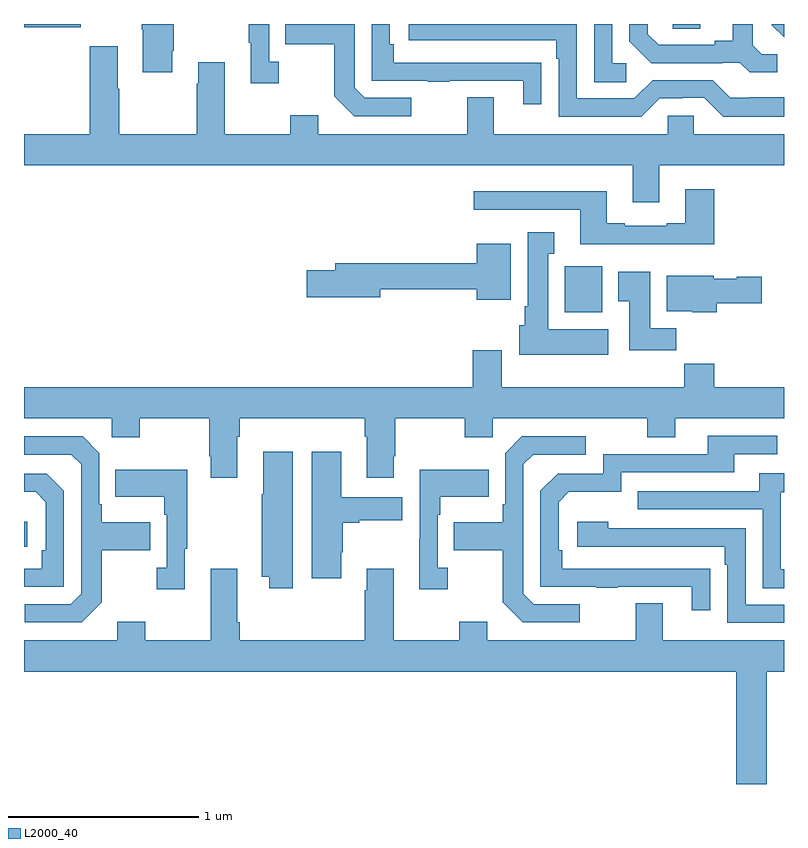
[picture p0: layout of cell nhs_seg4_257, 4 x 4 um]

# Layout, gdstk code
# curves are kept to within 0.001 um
import gdstk
lib = gdstk.Library(unit=1e-6, precision=1e-09)
def R(c, l, rs):  # rectangles x0, y0, x1, y1
    for r in rs: c.add(gdstk.rectangle(r[:2], r[2:], *l))
def P(c, l, *ps):  # polygons
    for p in ps: c.add(gdstk.Polygon(p, *l))
L2000_40 = (2000, 40)

nhs_seg4_257 = lib.new_cell('nhs_seg4_257')
R(nhs_seg4_257, L2000_40, [(123,792.15,123.016,792.28), (125.846,793.382,126.043,793.624), (126.414,794.875,126.559,794.9), (123,794.882,123.298,794.9)])
P(nhs_seg4_257, L2000_40, [(125.038,794.511),(124.794,794.511),(124.74,794.565),(124.74,794.9),(124.375,794.9),(124.375,794.794),(124.632,794.794),(124.632,794.521),(124.737,794.415),(125.038,794.415)],
  [(127,794.515),(126.817,794.515),(126.817,794.511),(126.717,794.511),(126.624,794.604),(126.309,794.604),(126.213,794.508),(125.91,794.508),(125.91,794.9),(125.025,794.9),(125.025,794.814),(125.801,794.814),(125.801,794.717),(125.814,794.717),(125.814,794.412),(126.249,794.412),(126.345,794.508),(126.464,794.508),(126.464,794.511),(126.579,794.511),(126.679,794.411),(127,794.411)],
  [(127,794.9),(126.936,794.9),(126.936,794.894),(127,794.83)],
  [(125.723,794.696),(125.621,794.696),(125.621,794.697),(124.946,794.697),(124.946,794.794),(124.926,794.794),(124.926,794.9),(124.83,794.9),(124.83,794.601),(125.125,794.601),(125.125,794.596),(125.237,794.596),(125.237,794.601),(125.627,794.601),(125.627,794.478),(125.723,794.478)],
  [(123.781,794.758),(123.789,794.758),(123.789,794.9),(123.619,794.9),(123.619,794.869),(123.626,794.869),(123.626,794.646),(123.781,794.646)],
  [(126.169,794.694),(126.096,794.694),(126.096,794.9),(126,794.9),(126,794.593),(126.169,794.593)],
  [(126.964,794.742),(126.882,794.742),(126.835,794.789),(126.835,794.9),(126.731,794.9),(126.731,794.813),(126.635,794.813),(126.635,794.79),(126.34,794.79),(126.283,794.847),(126.283,794.9),(126.186,794.9),(126.186,794.81),(126.302,794.694),(126.674,794.694),(126.674,794.697),(126.768,794.697),(126.82,794.645),(126.964,794.645)],
  [(124.342,794.702),(124.29,794.702),(124.29,794.9),(124.182,794.9),(124.182,794.801),(124.193,794.801),(124.193,794.589),(124.342,794.589)],
  [(126.343,794.156),(127,794.156),(127,794.32),(126.525,794.32),(126.525,794.418),(126.387,794.418),(126.387,794.32),(125.473,794.32),(125.473,794.515),(125.333,794.515),(125.333,794.32),(124.549,794.32),(124.549,794.419),(124.402,794.419),(124.402,794.32),(124.057,794.32),(124.057,794.698),(123.917,794.698),(123.917,794.585),(123.91,794.585),(123.91,794.32),(123.501,794.32),(123.501,794.558),(123.493,794.558),(123.493,794.782),(123.346,794.782),(123.346,794.32),(123,794.32),(123,794.156),(126.203,794.156),(126.203,793.962),(126.343,793.962)],
  [(126.632,794.029),(126.479,794.029),(126.479,793.852),(126.383,793.852),(126.383,793.839),(126.163,793.839),(126.163,793.852),(126.067,793.852),(126.067,794.02),(125.367,794.02),(125.367,793.923),(125.927,793.923),(125.927,793.742),(126.632,793.742)],
  [(126.076,793.294),(125.758,793.294),(125.758,793.691),(125.791,793.691),(125.791,793.804),(125.651,793.804),(125.651,793.414),(125.636,793.414),(125.636,793.314),(125.606,793.314),(125.606,793.16),(126.076,793.16)],
  [(125.563,793.744),(125.384,793.744),(125.384,793.64),(124.637,793.64),(124.637,793.604),(124.488,793.604),(124.488,793.462),(124.876,793.462),(124.876,793.504),(125.384,793.504),(125.384,793.448),(125.563,793.448)],
  [(126.434,793.3),(126.295,793.3),(126.295,793.597),(126.128,793.597),(126.128,793.441),(126.185,793.441),(126.185,793.182),(126.434,793.182)],
  [(126.647,793.429),(126.883,793.429),(126.883,793.571),(126.75,793.571),(126.75,793.558),(126.63,793.558),(126.63,793.576),(126.383,793.576),(126.383,793.388),(126.516,793.388),(126.516,793.382),(126.647,793.382)],
  [(124.123,792.728),(124.136,792.728),(124.136,792.824),(124.793,792.824),(124.793,792.728),(124.805,792.728),(124.805,792.513),(124.945,792.513),(124.945,792.625),(124.953,792.625),(124.953,792.824),(125.32,792.824),(125.32,792.725),(125.466,792.725),(125.466,792.824),(126.28,792.824),(126.28,792.725),(126.427,792.725),(126.427,792.824),(127,792.824),(127,792.988),(126.632,792.988),(126.632,793.112),(126.475,793.112),(126.475,792.988),(125.515,792.988),(125.515,793.183),(125.363,793.183),(125.363,792.988),(123,792.988),(123,792.824),(123.462,792.824),(123.462,792.725),(123.609,792.725),(123.609,792.824),(123.976,792.824),(123.976,792.625),(123.983,792.625),(123.983,792.513),(124.123,792.513)],
  [(126.611,792.032),(125.834,792.033),(125.834,792.13),(125.814,792.13),(125.814,792.384),(125.867,792.437),(126.144,792.437),(126.144,792.54),(126.739,792.54),(126.739,792.636),(126.964,792.636),(126.964,792.732),(126.599,792.732),(126.599,792.636),(126.048,792.636),(126.048,792.534),(125.808,792.534),(125.718,792.444),(125.718,791.937),(126.013,791.937),(126.013,791.932),(126.125,791.932),(126.125,791.937),(126.515,791.937),(126.515,791.814),(126.611,791.814)],
  [(125.926,791.847),(125.682,791.847),(125.628,791.901),(125.628,792.582),(125.679,792.633),(125.956,792.633),(125.956,792.729),(125.619,792.729),(125.532,792.642),(125.532,792.373),(125.52,792.373),(125.52,792.277),(125.263,792.277),(125.263,792.13),(125.52,792.13),(125.52,791.857),(125.625,791.751),(125.926,791.751)],
  [(123.409,791.857),(123.409,792.13),(123.665,792.13),(123.665,792.277),(123.409,792.277),(123.409,792.373),(123.396,792.373),(123.396,792.642),(123.309,792.729),(123,792.729),(123,792.633),(123.249,792.633),(123.3,792.582),(123.3,791.901),(123.246,791.847),(123.003,791.847),(123.003,791.751),(123.303,791.751)],
  [(124.669,792.121),(124.677,792.121),(124.677,792.275),(124.765,792.275),(124.765,792.287),(124.99,792.287),(124.99,792.409),(124.669,792.409),(124.669,792.649),(124.514,792.649),(124.514,791.982),(124.669,791.982)],
  [(124.414,792.649),(124.259,792.649),(124.259,792.425),(124.252,792.425),(124.252,791.99),(124.292,791.99),(124.292,791.931),(124.414,791.931)],
  [(125.23,792.038),(125.178,792.038),(125.178,792.317),(125.191,792.317),(125.191,792.413),(125.447,792.413),(125.447,792.553),(125.082,792.553),(125.082,792.191),(125.081,792.191),(125.081,791.925),(125.23,791.925)],
  [(123.847,792.137),(123.859,792.137),(123.859,792.553),(123.481,792.553),(123.481,792.413),(123.738,792.413),(123.738,792.317),(123.75,792.317),(123.75,792.038),(123.699,792.038),(123.699,791.925),(123.847,791.925)],
  [(127,792.03),(126.984,792.03),(126.984,792.435),(127,792.435),(127,792.535),(126.869,792.535),(126.869,792.441),(126.229,792.441),(126.229,792.345),(126.888,792.345),(126.888,791.929),(127,791.929)],
  [(123.21,792.444),(123.12,792.534),(123,792.534),(123,792.437),(123.061,792.437),(123.114,792.384),(123.114,792.13),(123.094,792.13),(123.094,792.033),(123,792.033),(123,791.937),(123.21,791.937)],
  [(127,791.844),(126.798,791.844),(126.798,792.246),(126.074,792.246),(126.074,792.28),(125.913,792.28),(125.913,792.15),(126.689,792.15),(126.689,792.053),(126.702,792.053),(126.702,791.748),(127,791.748)],
  [(126.909,791.492),(127,791.492),(127,791.656),(126.361,791.656),(126.361,791.851),(126.221,791.851),(126.221,791.656),(125.437,791.656),(125.437,791.755),(125.29,791.755),(125.29,791.656),(124.945,791.656),(124.945,792.034),(124.805,792.034),(124.805,791.921),(124.793,791.921),(124.793,791.656),(124.136,791.656),(124.136,791.752),(124.123,791.752),(124.123,792.034),(123.983,792.034),(123.983,791.656),(123.639,791.656),(123.639,791.755),(123.491,791.755),(123.491,791.656),(123,791.656),(123,791.492),(126.749,791.492),(126.749,790.9),(126.909,790.9)])

lib.write_gds('nhs_seg4_257.gds')
